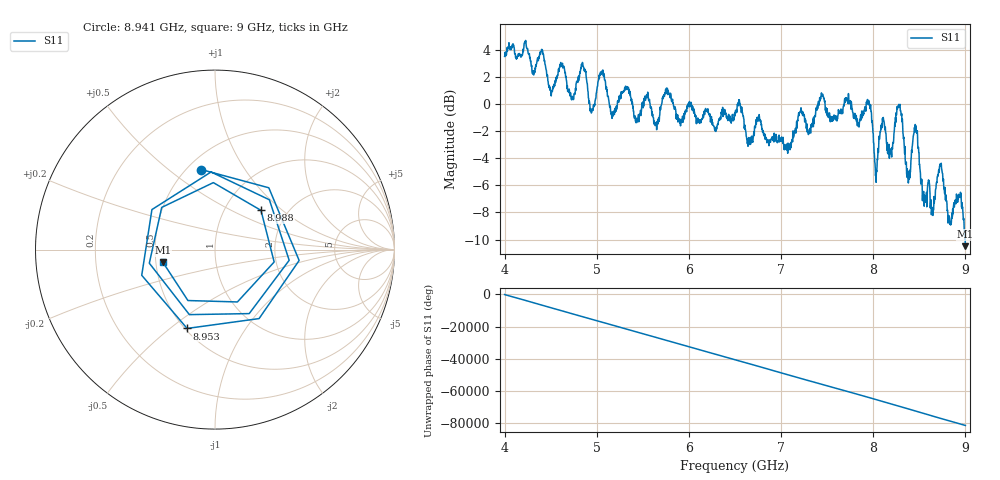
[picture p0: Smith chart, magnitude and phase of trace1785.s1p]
! Created with skrf 1.8.0 (http://scikit-rf.org).
# Hz S RI R 50.0
!freq ReS11 ImS11
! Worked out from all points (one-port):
!   1601 points, 4 GHz to 9 GHz, reference 50 ohm
!   lowest |S11| = -10.5 dB at 9 GHz (marker M1), VSWR 1.85, Z = 27.3 - j4.22 ohm
!   |S11| at or under -10 dB: 8.997666 GHz to end of sweep
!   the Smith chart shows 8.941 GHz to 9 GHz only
!   S11 on the Smith chart (normalised r, x): 8.941 GHz: 0.59, +0.66; 8.953 GHz: 0.51, -0.57; 8.988 GHz: 1.47, +0.73; 9 GHz: 0.55, -0.08
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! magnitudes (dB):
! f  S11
! 4 GHz  3.5
! 4.403 GHz  4.1
! 4.506 GHz  0.6
! 4.625 GHz  2.9
! 4.731 GHz  0.3
! 4.856 GHz  2.7
! 4.947 GHz  -0.5
! 5.05 GHz  2.2
! 5.166 GHz  -1.0
! 5.25 GHz  0.6
! 5.875 GHz  -1.0
! 6.5 GHz  -0.6
! 7.125 GHz  -2.8
! 7.441 GHz  0.7
! 7.75 GHz  0.1
! 7.953 GHz  0.0
! 8.034 GHz  -4.9
! 8.097 GHz  -1.7
! 8.284 GHz  0.0
! 8.375 GHz  -5.4
! 8.456 GHz  -1.5
! 8.559 GHz  -6.8
! 8.728 GHz  -4.5
! 8.828 GHz  -8.4
! 8.941 GHz  -6.9
! 8.953 GHz  -6.6
! 8.988 GHz  -9.5
! 9 GHz  -10.5
